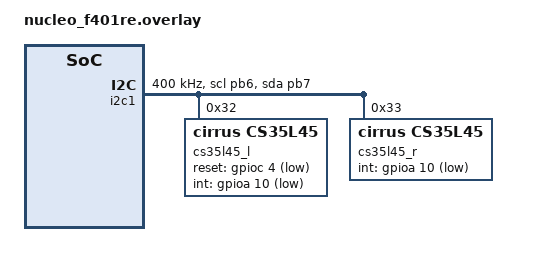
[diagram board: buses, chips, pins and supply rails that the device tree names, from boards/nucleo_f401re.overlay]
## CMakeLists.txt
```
# SPDX-License-Identifier: Apache-2.0

cmake_minimum_required(VERSION 3.20.0)
find_package(Zephyr REQUIRED HINTS $ENV{ZEPHYR_BASE})
project(cs35l45)

FILE(GLOB app_sources src/*.c)
target_sources(app PRIVATE ${app_sources})
```

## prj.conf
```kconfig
CONFIG_LOG=y
CONFIG_LOG_MAX_LEVEL=4
CONFIG_AUDIO=y
CONFIG_AUDIO_CODEC=y
CONFIG_AUDIO_CODEC_LOG_LEVEL_DBG=y
CONFIG_AUDIO_CODEC_CS35L45_I2C=y
CONFIG_PM_DEVICE=y
CONFIG_PM_DEVICE_RUNTIME=y
CONFIG_PM_DEVICE_RUNTIME_ASYNC=y

CONFIG_SHELL=y
CONFIG_I2C_SHELL=y
CONFIG_AUDIO_CODEC_SHELL=y
CONFIG_GPIO_SHELL=y
CONFIG_AUDIO_CODEC_CS35L45_SHELL=y
CONFIG_PM_DEVICE_SHELL=y
```

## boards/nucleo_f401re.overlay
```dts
/*
 * Copyright (c) 2025 Cirrus Logic, Inc.
 *
 * SPDX-License-Identifier: Apache-2.0
 */

 #include <zephyr/dt-bindings/gpio/gpio.h>
 #include <zephyr/dt-bindings/i2c/i2c.h>

&usart1 {
    status = "disabled";
};

&i2c1 {
    pinctrl-0 = <&i2c1_scl_pb6 &i2c1_sda_pb7>;
    pinctrl-1 = <&i2c1_scl_pb6 &i2c1_sda_pb7>;
    pinctrl-names = "default", "sleep";

    status = "okay";
    clock-frequency = <I2C_BITRATE_FAST>;

    cs35l45_l: cs35l45@32 {
        compatible = "cirrus,cs35l45";
        reg = <0x32>;
        status = "okay";

        reset-gpios = <&gpioc 4 (GPIO_ACTIVE_LOW | GPIO_PULL_UP)>;
		int-gpios = <&gpioa 10 (GPIO_ACTIVE_LOW | GPIO_PULL_UP)>;
    };

    cs35l45_r: cs35l45@33 {
        compatible = "cirrus,cs35l45";
        reg = <0x33>;
        status = "okay";

		int-gpios = <&gpioa 10 (GPIO_ACTIVE_LOW | GPIO_PULL_UP)>;
    };
};
```

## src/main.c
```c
/*
 * Copyright (c) 2026 Cirrus Logic, Inc.
 *
 * SPDX-License-Identifier: Apache-2.0
 */

#include <zephyr/kernel.h>
#include <zephyr/device.h>
#include <zephyr/devicetree.h>
#include <zephyr/audio/codec.h>
#include <zephyr/drivers/gpio.h>
#include <zephyr/logging/log.h>

LOG_MODULE_REGISTER(main);

#define AUDIO_AMP_LEFT			0
#define AUDIO_AMP_RIGHT			1

#define ASP1_RX1	1
#define ASP1_RX2	2

const struct device *amps[] = {
	[AUDIO_AMP_LEFT] = DEVICE_DT_GET(DT_NODELABEL(cs35l45_l)),
	[AUDIO_AMP_RIGHT] = DEVICE_DT_GET(DT_NODELABEL(cs35l45_r)),
};

#define SW0_NODE	DT_ALIAS(sw0)
#if !DT_NODE_HAS_STATUS_OKAY(SW0_NODE)
#error "Unsupported board: sw0 devicetree alias is not defined"
#else /* DT_NODE_HAS_STATUS_OKAY(SW0_NODE) */
static const struct gpio_dt_spec button = GPIO_DT_SPEC_GET_OR(SW0_NODE, gpios, {0});
#endif

static volatile bool playback = false;

static void set_codec_output_state(const bool state)
{
	LOG_DBG("%s audio playback", state ? "Starting" : "Pausing");
	if (state) {
		for (int i = 0; i < ARRAY_SIZE(amps); i++) {
			if (amps[i] == NULL) {
				continue;
			}
			audio_codec_start_output(amps[i]);
		}
	} else {
		for (int i = 0; i < ARRAY_SIZE(amps); i++) {
			if (amps[i] == NULL) {
				continue;
			}
			audio_codec_stop_output(amps[i]);
		}
	}
}

static struct k_work_delayable irq_worker;
static void button_worker(struct k_work *work)
{
	/* Debounce the switch button. */
	if (gpio_pin_get_dt(&button) == 0) {
		return;
	}

	/* If device is currently in monitor mode, transition to PC mode. */
	if (playback) {
		set_codec_output_state(false);
	} else {
		set_codec_output_state(true);
	}

	playback = !playback;
}

static struct gpio_callback button_cb_data;
static void button_handler(const struct device *port, struct gpio_callback *cb, uint32_t pins)
{
	(void)k_work_schedule(&irq_worker, K_USEC(500));
}


#define CODEC_DAI_CFG_I2S_STEREO	2

#define CODEC_DAI_CFG_I2S_FORMAT	(I2S_FMT_DATA_FORMAT_I2S | \
									 I2S_FMT_CLK_NF_NB)

#define CODEC_DAI_CFG_I2S_OPTION	(I2S_OPT_BIT_CLK_GATED | \
									 I2S_OPT_BIT_CLK_SLAVE | \
									 I2S_OPT_FRAME_CLK_SLAVE)

struct audio_codec_cfg cfg = {
	.dai_cfg.i2s.word_size = AUDIO_PCM_WIDTH_24_BITS,
	.dai_cfg.i2s.channels = CODEC_DAI_CFG_I2S_STEREO,
	.dai_cfg.i2s.frame_clk_freq = AUDIO_PCM_RATE_48K,
	.dai_cfg.i2s.format = CODEC_DAI_CFG_I2S_FORMAT,
	.dai_cfg.i2s.options = CODEC_DAI_CFG_I2S_OPTION,

	.dai_route = AUDIO_ROUTE_PLAYBACK,
	.dai_type = AUDIO_DAI_TYPE_I2S,
};

static int init_codecs(void)
{
	audio_property_value_t val;
	int ret;

	if (amps[AUDIO_AMP_LEFT] == NULL || amps[AUDIO_AMP_RIGHT] == NULL ) {
		LOG_ERR("No CS35L45 stereo pair found...");
		return -ENODEV;
	}

	val.mute = false;

	for (int i = 0; i < ARRAY_SIZE(amps); i++) {
		if (amps[i] == NULL) {
			continue;
		}

		if (!device_is_ready(amps[i])) {
			LOG_ERR("Error: %s is not ready", amps[i]->name);
			return -EIO;
		}

		ret = audio_codec_configure(amps[i], &cfg);
		if (ret < 0) {
			LOG_ERR("Error: Failed to configure %s codec.", amps[i]->name);
			return ret;
		}

		if ((i % 2) == 0) {
			ret = audio_codec_route_output(amps[i], AUDIO_CHANNEL_FRONT_LEFT, 1);
			if (ret < 0) {
				LOG_ERR("Error: Failed to route left output path.");
				return ret;
			}

			ret = audio_codec_route_input(amps[i], AUDIO_CHANNEL_ALL, 1);
			if (ret < 0) {
				LOG_ERR("Error: Failed to route left input path.");
				return ret;
			}

			ret = audio_codec_set_property(amps[i], AUDIO_PROPERTY_OUTPUT_MUTE, AUDIO_CHANNEL_ALL, val);
			if (ret < 0) {
				LOG_ERR("Error: Failed to unmute left amp, %d", ret);
				return ret;
			}
		} else {
			ret = audio_codec_route_output(amps[i], AUDIO_CHANNEL_FRONT_RIGHT, 2);
			if (ret < 0) {
				LOG_ERR("Error: Failed to route right output path.");
				return ret;
			}

			ret = audio_codec_route_input(amps[i], AUDIO_CHANNEL_ALL, 2);
			if (ret < 0) {
				LOG_ERR("Error: Failed to route right input path.");
				return ret;
			}

			ret = audio_codec_set_property(amps[i], AUDIO_PROPERTY_OUTPUT_MUTE, AUDIO_CHANNEL_ALL, val);
			if (ret < 0) {
				LOG_ERR("Error: Failed to unmute right amp");
				return ret;
			}
		}
	}

	return 0;
}

static int init_button(void)
{
	int ret;

	if (!gpio_is_ready_dt(&button)) {
		return -ENODEV;
	}

	k_work_init_delayable(&irq_worker, button_worker);

	ret = gpio_pin_configure_dt(&button, GPIO_INPUT);
	if (ret != 0) {
		LOG_ERR("failed to configure %s", button.port->name);
		return ret;
	}

	ret = gpio_pin_interrupt_configure_dt(&button, GPIO_INT_EDGE_TO_ACTIVE);
	if (ret != 0) {
		LOG_ERR("failed to configure %s", button.port->name);
		return ret;
	}

	gpio_init_callback(&button_cb_data, button_handler, BIT(button.pin));

	return gpio_add_callback(button.port, &button_cb_data);
}

int main(void)
{
	int ret;

	ret = init_button();
	if (ret != 0) {
		LOG_ERR("Failed to initialize button");
	}

	ret = init_codecs();
	if (ret != 0) {
		LOG_ERR("Failed to initialize codecs\n");
		return ret;
	}

	return 0;
}
```
